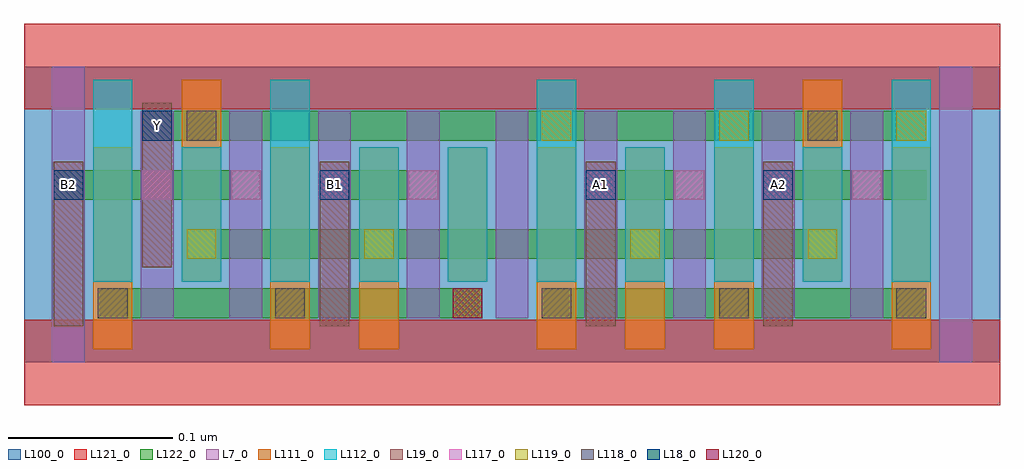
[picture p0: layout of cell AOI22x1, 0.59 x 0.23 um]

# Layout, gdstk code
import gdstk
lib = gdstk.Library(unit=1e-6, precision=2.5e-10)
def R(c, l, rs):  # rectangles x0, y0, x1, y1
    for r in rs: c.add(gdstk.rectangle(r[:2], r[2:], *l))
def A(c, l, x, y, w, h, nx, ny, dx, dy):  # array of equal rectangles
    R(c, l, [(x+i*dx, y+j*dy, x+i*dx+w, y+j*dy+h) for i in range(nx) for j in range(ny)])
L7_0 = (7, 0)
L18_0 = (18, 0)
L19_0 = (19, 0)
L100_0 = (100, 0)
L111_0 = (111, 0)
L112_0 = (112, 0)
L117_0 = (117, 0)
L118_0 = (118, 0)
L119_0 = (119, 0)
L120_0 = (120, 0)
L121_0 = (121, 0)
L122_0 = (122, 0)

aoi22x1 = lib.new_cell('AOI22x1')
A(aoi22x1, L7_0, 0.071, 0.027, 0.02, 0.126, 9, 1, 0.054, 0)
R(aoi22x1, L7_0, [(0.017,0,0.037,0.18), (0.557,0,0.577,0.18)])
A(aoi22x1, L18_0, 0.018, 0.099, 0.018, 0.018, 3, 1, 0.162, 0)
R(aoi22x1, L18_0, [(0.45,0.099,0.468,0.117), (0.072,0.135,0.09,0.153)])
A(aoi22x1, L19_0, 0.018, 0.022, 0.018, 0.1, 3, 1, 0.162, 0)
R(aoi22x1, L19_0, [(0.45,0.022,0.468,0.122), (0.072,0.058,0.09,0.158)])
R(aoi22x1, L100_0, [(0,0,0.594,0.18)])
A(aoi22x1, L111_0, 0.312, 0.008, 0.024, 0.123, 3, 1, 0.054, 0)
R(aoi22x1, L111_0, [(0.042,0.008,0.066,0.131), (0.15,0.008,0.174,0.131), (0.204,0.008,0.228,0.131), (0.528,0.008,0.552,0.131), (0.096,0.049,0.12,0.172), (0.258,0.049,0.282,0.131), (0.474,0.049,0.498,0.172)])
A(aoi22x1, L112_0, 0.258, 0.049, 0.024, 0.082, 3, 1, 0.108, 0)
A(aoi22x1, L112_0, 0.312, 0.049, 0.024, 0.123, 3, 1, 0.108, 0)
R(aoi22x1, L112_0, [(0.042,0.049,0.066,0.172), (0.096,0.049,0.12,0.131), (0.15,0.049,0.174,0.172), (0.204,0.049,0.228,0.131)])
A(aoi22x1, L117_0, 0.072, 0.099, 0.018, 0.018, 4, 1, 0.054, 0)
A(aoi22x1, L117_0, 0.342, 0.099, 0.018, 0.018, 4, 1, 0.054, 0)
A(aoi22x1, L118_0, 0.315, 0.027, 0.018, 0.018, 3, 1, 0.108, 0)
R(aoi22x1, L118_0, [(0.045,0.027,0.063,0.045), (0.153,0.027,0.171,0.045), (0.099,0.135,0.117,0.153), (0.477,0.135,0.495,0.153)])
A(aoi22x1, L119_0, 0.315, 0.135, 0.018, 0.018, 3, 1, 0.108, 0)
R(aoi22x1, L119_0, [(0.261,0.027,0.279,0.045), (0.099,0.063,0.117,0.081), (0.207,0.063,0.225,0.081), (0.369,0.063,0.387,0.081), (0.477,0.063,0.495,0.081)])
R(aoi22x1, L120_0, [(0.261,0.027,0.279,0.045)])
R(aoi22x1, L121_0, [(0,-0.026,0.594,0.026), (0,0.154,0.594,0.206)])
R(aoi22x1, L122_0, [(0.045,0.027,0.279,0.045), (0.315,0.027,0.549,0.045), (0.099,0.063,0.495,0.081), (0.018,0.099,0.144,0.117), (0.18,0.099,0.252,0.117), (0.342,0.099,0.414,0.117), (0.45,0.099,0.549,0.117), (0.072,0.135,0.549,0.153)])
aoi22x1.add(gdstk.Label('Y', (0.081,0.144), layer=19, texttype=251))
aoi22x1.add(gdstk.Label('B2', (0.027,0.108), layer=19, texttype=251))
aoi22x1.add(gdstk.Label('B1', (0.189,0.108), layer=19, texttype=251))
aoi22x1.add(gdstk.Label('A2', (0.459,0.108), layer=19, texttype=251))
aoi22x1.add(gdstk.Label('A1', (0.351,0.108), layer=19, texttype=251))

lib.write_gds('AOI22x1.gds')
